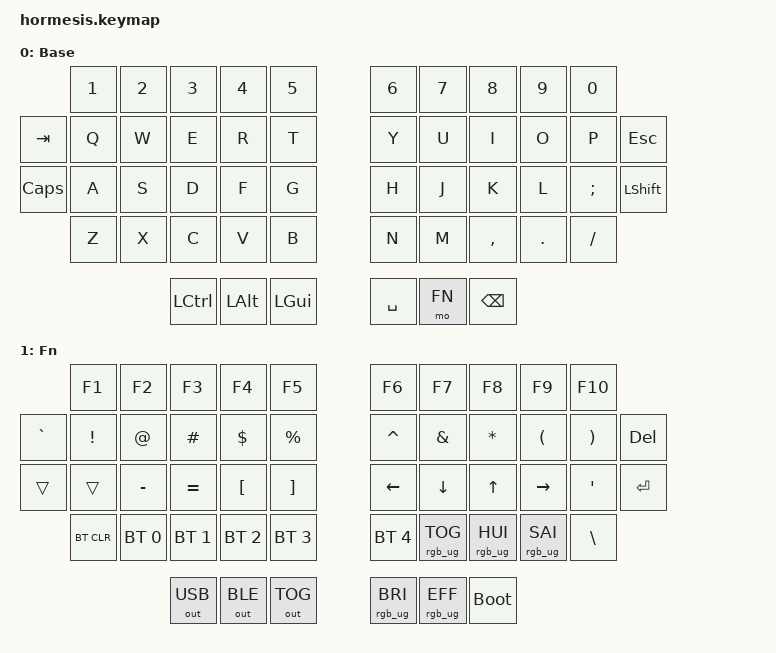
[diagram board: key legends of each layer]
#include <behaviors.dtsi>
#include <dt-bindings/zmk/bt.h>
#include <dt-bindings/zmk/keys.h>
#include <dt-bindings/zmk/outputs.h>
#include <dt-bindings/zmk/rgb.h>

#define FN 1

/ {
    combos {
        compatible = "zmk,combos";
        combo_studio_unlock {
            timeout-ms = <1000>;
            key-positions = <44 49>;
            bindings = <&studio_unlock>;
        };
    };

    keymap {
        compatible = "zmk,keymap";

        base_layer {
            display-name = "Base";
            bindings = <
                &kp N1    &kp N2    &kp N3    &kp N4    &kp N5               &kp N6    &kp N7    &kp N8    &kp N9    &kp N0
                &kp TAB   &kp Q     &kp W     &kp E     &kp R     &kp T      &kp Y     &kp U     &kp I     &kp O     &kp P     &kp ESC
                &kp CAPS  &kp A     &kp S     &kp D     &kp F     &kp G      &kp H     &kp J     &kp K     &kp L     &kp SEMI  &kp LSHFT
                &kp Z     &kp X     &kp C     &kp V     &kp B               &kp N     &kp M     &kp COMMA &kp DOT   &kp SLASH
                                       &kp LCTRL &kp LALT  &kp LGUI          &kp SPACE &mo FN    &kp BSPC
            >;
        };

        fn_layer {
            display-name = "Fn";
            bindings = <
                &kp F1              &kp F2       &kp F3       &kp F4       &kp F5                    &kp F6          &kp F7           &kp F8           &kp F9           &kp F10
                &kp GRAVE           &kp EXCL     &kp AT       &kp HASH     &kp DLLR    &kp PRCNT   &kp CARET      &kp AMPS        &kp ASTRK       &kp LPAR        &kp RPAR        &kp DEL
                &trans              &trans       &kp MINUS    &kp EQUAL    &kp LBKT    &kp RBKT    &kp LEFT       &kp DOWN        &kp UP          &kp RIGHT       &kp SQT         &kp ENTER
                &bt BT_CLR          &bt BT_SEL 0 &bt BT_SEL 1 &bt BT_SEL 2 &bt BT_SEL 3          &bt BT_SEL 4    &rgb_ug RGB_TOG &rgb_ug RGB_HUI &rgb_ug RGB_SAI &kp BSLH
                                       &out OUT_USB &out OUT_BLE &out OUT_TOG       &rgb_ug RGB_BRI &rgb_ug RGB_EFF &bootloader
            >;
        };
    };
};
